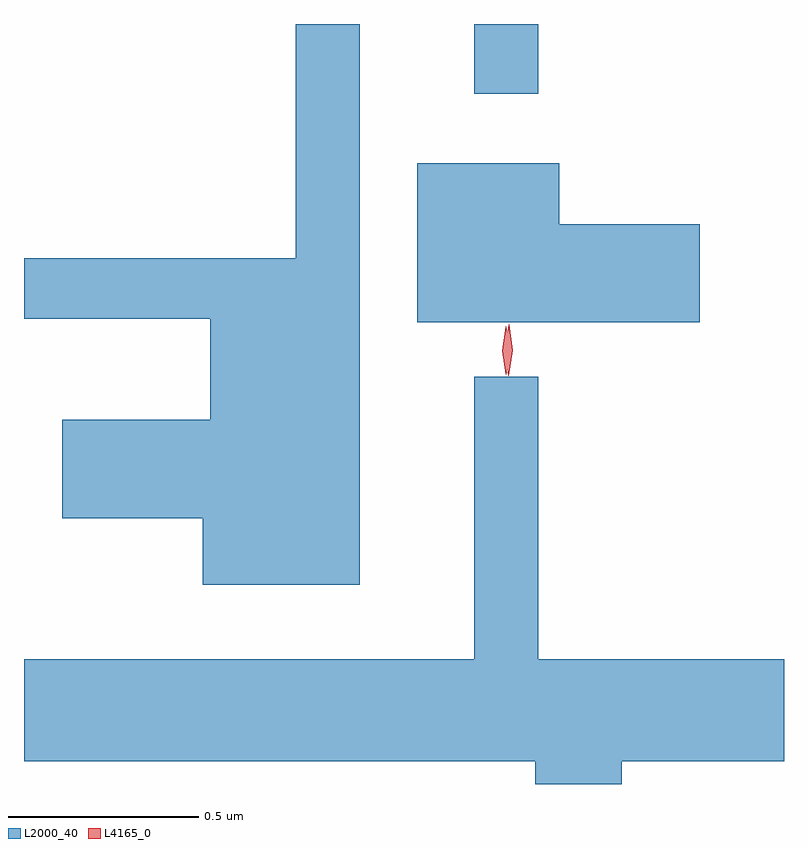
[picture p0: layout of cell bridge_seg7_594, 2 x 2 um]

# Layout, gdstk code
import gdstk
lib = gdstk.Library(unit=1e-6, precision=1e-09)
def R(c, l, rs):  # rectangles x0, y0, x1, y1
    for r in rs: c.add(gdstk.rectangle(r[:2], r[2:], *l))
def P(c, l, *ps):  # polygons
    for p in ps: c.add(gdstk.Polygon(p, *l))
L2000_40 = (2000, 40)
L4165_0 = (4165, 0)

bridge_seg7_594 = lib.new_cell('bridge_seg7_594')
R(bridge_seg7_594, L2000_40, [(788.401,1782.673,788.569,1782.856)])
P(bridge_seg7_594, L2000_40, [(788.099,1782.856),(787.931,1782.856),(787.931,1782.239),(787.216,1782.239),(787.216,1782.081),(787.706,1782.081),(787.706,1781.814),(787.316,1781.814),(787.316,1781.556),(787.686,1781.556),(787.686,1781.381),(788.099,1781.381)],
  [(788.994,1782.329),(788.624,1782.329),(788.624,1782.489),(788.251,1782.489),(788.251,1782.071),(788.994,1782.071)],
  [(788.789,1780.916),(789.216,1780.916),(789.216,1781.184),(788.569,1781.184),(788.569,1781.928),(788.401,1781.928),(788.401,1781.184),(787.216,1781.184),(787.216,1780.916),(788.561,1780.916),(788.561,1780.856),(788.789,1780.856)])
P(bridge_seg7_594, L4165_0, [(788.485,1781.933),(788.484,1781.934),(788.475,1781.996),(788.484,1782.059),(788.484,1782.06),(788.485,1782.059),(788.495,1781.996),(788.485,1781.934)],
  [(788.49,1781.93),(788.482,1781.998),(788.492,1782.065),(788.493,1782.066),(788.493,1782.065),(788.502,1781.998),(788.491,1781.93),(788.491,1781.93)])

lib.write_gds('bridge_seg7_594.gds')
